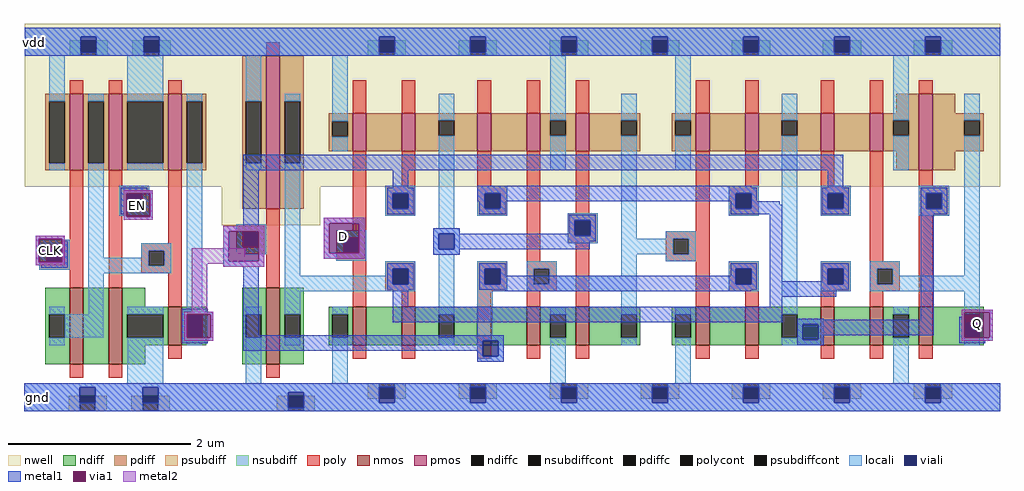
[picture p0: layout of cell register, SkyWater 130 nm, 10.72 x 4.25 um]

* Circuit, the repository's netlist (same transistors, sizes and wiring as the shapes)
* NGSPICE file created from register.ext - technology: sky130A

.subckt d_flip_flop CLK D Q vdd gnd
X0 inverter_1_out common_1 vdd vdd sky130_fd_pr__pfet_01v8 ad=0.235 pd=1.96 as=0.0819 ps=0.81 w=0.42 l=0.15
X1 gnd inverter_1_out a_494_0# gnd sky130_fd_pr__nfet_01v8 ad=0.0819 pd=0.81 as=0.0819 ps=0.81 w=0.42 l=0.15
X2 common_2 CLK_n a_974_426# vdd sky130_fd_pr__pfet_01v8 ad=0.143 pd=1.1 as=0.0819 ps=0.81 w=0.42 l=0.15
X3 gnd Q a_1248_0# gnd sky130_fd_pr__nfet_01v8 ad=0.0819 pd=0.81 as=0.0819 ps=0.81 w=0.42 l=0.15
X4 a_974_0# inverter_1_out gnd gnd sky130_fd_pr__nfet_01v8 ad=0.0819 pd=0.81 as=0.111 ps=1.37 w=0.42 l=0.15
X5 a_220_426# D vdd vdd sky130_fd_pr__pfet_01v8 ad=0.0819 pd=0.81 as=0.111 ps=1.37 w=0.42 l=0.15
X6 a_494_0# CLK common_1 gnd sky130_fd_pr__nfet_01v8 ad=0.0819 pd=0.81 as=0.143 ps=1.1 w=0.42 l=0.15
X7 a_1248_0# CLK_n common_2 gnd sky130_fd_pr__nfet_01v8 ad=0.0819 pd=0.81 as=0.143 ps=1.1 w=0.42 l=0.15
X8 CLK_n CLK vdd vdd sky130_fd_pr__pfet_01v8 ad=0.445 pd=3.89 as=0.445 ps=3.89 w=1.68 l=0.15
X9 common_1 CLK a_220_426# vdd sky130_fd_pr__pfet_01v8 ad=0.143 pd=1.1 as=0.0819 ps=0.81 w=0.42 l=0.15
X10 Q common_2 vdd vdd sky130_fd_pr__pfet_01v8 ad=0.34 pd=2.8 as=0.134 ps=1.23 w=0.84 l=0.15
X11 a_1248_426# CLK common_2 vdd sky130_fd_pr__pfet_01v8 ad=0.0819 pd=0.81 as=0.143 ps=1.1 w=0.42 l=0.15
X12 CLK_n CLK gnd gnd sky130_fd_pr__nfet_01v8 ad=0.223 pd=2.21 as=0.223 ps=2.21 w=0.84 l=0.15
X13 common_1 CLK_n a_220_0# gnd sky130_fd_pr__nfet_01v8 ad=0.143 pd=1.1 as=0.0819 ps=0.81 w=0.42 l=0.15
X14 vdd Q a_1248_426# vdd sky130_fd_pr__pfet_01v8 ad=0.134 pd=1.23 as=0.0819 ps=0.81 w=0.42 l=0.15
X15 common_2 CLK a_974_0# gnd sky130_fd_pr__nfet_01v8 ad=0.143 pd=1.1 as=0.0819 ps=0.81 w=0.42 l=0.15
X16 inverter_1_out common_1 gnd gnd sky130_fd_pr__nfet_01v8 ad=0.235 pd=1.96 as=0.0819 ps=0.81 w=0.42 l=0.15
X17 Q common_2 gnd gnd sky130_fd_pr__nfet_01v8 ad=0.235 pd=1.96 as=0.0819 ps=0.81 w=0.42 l=0.15
X18 a_494_426# CLK_n common_1 vdd sky130_fd_pr__pfet_01v8 ad=0.0819 pd=0.81 as=0.143 ps=1.1 w=0.42 l=0.15
X19 a_974_426# inverter_1_out vdd vdd sky130_fd_pr__pfet_01v8 ad=0.0819 pd=0.81 as=0.111 ps=1.37 w=0.42 l=0.15
X20 a_220_0# D gnd gnd sky130_fd_pr__nfet_01v8 ad=0.0819 pd=0.81 as=0.111 ps=1.37 w=0.42 l=0.15
X21 vdd inverter_1_out a_494_426# vdd sky130_fd_pr__pfet_01v8 ad=0.0819 pd=0.81 as=0.0819 ps=0.81 w=0.42 l=0.15
.ends

.subckt and2 A B Y vdd gnd
X0 vdd B Y_n vdd sky130_fd_pr__pfet_01v8 ad=0.212 pd=1.35 as=0.118 ps=1.12 w=0.84 l=0.15
X1 Y Y_n vdd vdd sky130_fd_pr__pfet_01v8 ad=0.223 pd=2.21 as=0.212 ps=1.35 w=0.84 l=0.15
X2 Y Y_n gnd gnd sky130_fd_pr__nfet_01v8 ad=0.111 pd=1.37 as=0.159 ps=1.35 w=0.42 l=0.15
X3 Y_n A vdd vdd sky130_fd_pr__pfet_01v8 ad=0.118 pd=1.12 as=0.223 ps=2.21 w=0.84 l=0.15
X4 gnd B a_30_n42# gnd sky130_fd_pr__nfet_01v8 ad=0.159 pd=1.35 as=0.118 ps=1.12 w=0.84 l=0.15
X5 a_30_n42# A Y_n gnd sky130_fd_pr__nfet_01v8 ad=0.118 pd=1.12 as=0.223 ps=2.21 w=0.84 l=0.15
.ends

.subckt register D CLK EN Q gnd vdd
Xd_flip_flop_0 and2_0/Y D Q vdd gnd d_flip_flop
Xand2_0 CLK EN and2_0/Y vdd gnd and2
.ends

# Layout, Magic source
magic
tech sky130A
magscale 1 2
<< metal1 >>
rect 2 781 125 842
rect 0 0 123 61
<< metal2 >>
rect 244 448 256 458
rect 696 378 708 388
rect 52 348 64 358
rect 368 324 486 358
rect 368 216 402 324
rect 2088 186 2100 196
use and2  and2_0
transform 1 0 100 0 1 145
box -100 -145 336 706
use d_flip_flop  d_flip_flop_0
transform 1 0 532 0 1 145
box -98 -145 1612 706
<< labels >>
rlabel metal2 250 452 250 452 5 EN
port 3 s
rlabel metal2 702 384 702 384 5 D
port 1 s
rlabel metal2 2094 192 2094 192 5 Q
port 4 s
rlabel metal1 24 810 24 810 5 vdd
port 6 s
rlabel metal1 30 30 30 30 5 gnd
port 5 s
rlabel metal2 58 354 58 354 5 CLK
port 2 s
<< end >>

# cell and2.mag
magic
tech sky130A
magscale 1 2
<< nwell >>
rect -98 348 336 706
<< nmos >>
rect 0 -42 30 126
rect 86 -42 116 126
rect 217 0 247 84
<< pmos >>
rect 0 384 30 552
rect 86 384 116 552
rect 217 384 247 552
<< ndiff >>
rect -53 68 0 126
rect -53 16 -45 68
rect -11 16 0 68
rect -53 -42 0 16
rect 30 -42 86 126
rect 116 84 166 126
rect 116 68 217 84
rect 116 16 127 68
rect 206 16 217 68
rect 116 0 217 16
rect 247 68 300 84
rect 247 16 258 68
rect 292 16 300 68
rect 247 0 300 16
rect 116 -42 166 0
<< pdiff >>
rect -53 536 0 552
rect -53 400 -45 536
rect -11 400 0 536
rect -53 384 0 400
rect 30 536 86 552
rect 30 400 41 536
rect 75 400 86 536
rect 30 384 86 400
rect 116 536 217 552
rect 116 400 127 536
rect 206 400 217 536
rect 116 384 217 400
rect 247 536 300 552
rect 247 400 258 536
rect 292 400 300 536
rect 247 384 300 400
<< ndiffc >>
rect -45 16 -11 68
rect 127 16 206 68
rect 258 16 292 68
<< pdiffc >>
rect -45 400 -11 536
rect 41 400 75 536
rect 127 400 206 536
rect 258 400 292 536
<< psubdiff >>
rect -2 -145 23 -111
rect 57 -145 82 -111
rect 136 -145 161 -111
rect 195 -145 220 -111
<< nsubdiff >>
rect 0 636 25 670
rect 59 636 84 670
rect 138 636 163 670
rect 197 636 222 670
<< psubdiffcont >>
rect 23 -145 57 -111
rect 161 -145 195 -111
<< nsubdiffcont >>
rect 25 636 59 670
rect 163 636 197 670
<< poly >>
rect 0 552 30 582
rect 86 552 116 582
rect 217 552 247 582
rect 0 232 30 384
rect -66 216 30 232
rect -66 182 -50 216
rect -16 182 30 216
rect -66 166 30 182
rect 0 126 30 166
rect 86 350 116 384
rect 86 334 175 350
rect 86 300 125 334
rect 159 300 175 334
rect 86 284 175 300
rect 86 126 116 284
rect 217 224 247 384
rect 158 208 247 224
rect 158 174 174 208
rect 208 174 247 208
rect 158 158 247 174
rect 217 84 247 158
rect 217 -30 247 0
rect 0 -72 30 -42
rect 86 -72 116 -42
<< polycont >>
rect -50 182 -16 216
rect 125 300 159 334
rect 174 174 208 208
<< locali >>
rect -98 678 336 697
rect -98 636 25 678
rect 59 636 163 678
rect 197 636 336 678
rect -45 536 -11 636
rect -45 384 -11 400
rect 41 536 75 552
rect -66 216 0 232
rect -66 182 -50 216
rect -16 182 0 216
rect -66 166 0 182
rect 41 192 75 400
rect 127 536 206 636
rect 127 384 206 400
rect 258 536 292 552
rect 109 334 175 350
rect 109 300 125 334
rect 159 300 175 334
rect 109 284 175 300
rect 158 208 224 224
rect 158 192 174 208
rect 41 174 174 192
rect 208 174 224 208
rect 41 158 224 174
rect -45 68 -11 84
rect 41 68 75 158
rect -11 16 75 68
rect 127 68 206 84
rect 258 80 292 400
rect -45 0 -11 16
rect 127 -84 206 16
rect 246 68 304 80
rect 246 16 258 68
rect 292 16 304 68
rect 246 4 304 16
rect 258 0 292 4
rect -100 -92 334 -84
rect -100 -145 23 -92
rect 57 -145 161 -92
rect 195 -145 334 -92
<< viali >>
rect 25 670 59 678
rect 25 644 59 670
rect 163 670 197 678
rect 163 644 197 670
rect -50 182 -16 216
rect 125 300 159 334
rect 258 16 292 68
rect 23 -111 57 -92
rect 23 -126 57 -111
rect 161 -111 195 -92
rect 161 -126 195 -111
<< metal1 >>
rect -98 678 336 697
rect -98 644 25 678
rect 59 644 163 678
rect 197 644 336 678
rect -98 636 336 644
rect 113 340 171 346
rect 113 334 183 340
rect 113 288 125 334
rect 119 282 125 288
rect 177 282 183 334
rect 119 276 183 282
rect -74 234 -10 240
rect -74 182 -68 234
rect -16 228 -10 234
rect -16 182 -4 228
rect -74 176 -4 182
rect -62 170 -4 176
rect 246 74 304 80
rect 246 68 316 74
rect 246 16 258 68
rect 310 16 316 68
rect 246 10 316 16
rect 246 4 304 10
rect -100 -92 334 -84
rect -100 -126 23 -92
rect 57 -126 161 -92
rect 195 -126 334 -92
rect -100 -145 334 -126
<< via1 >>
rect 125 300 159 334
rect 159 300 177 334
rect 125 282 177 300
rect -68 216 -16 234
rect -68 182 -50 216
rect -50 182 -16 216
rect 258 16 292 68
rect 292 16 310 68
<< metal2 >>
rect 119 334 183 340
rect 119 282 125 334
rect 177 282 183 334
rect 119 276 183 282
rect -74 234 -10 240
rect -74 182 -68 234
rect -16 182 -10 234
rect -74 176 -10 182
rect 252 68 316 74
rect 252 16 258 68
rect 310 16 316 68
rect 252 10 316 16
<< labels >>
rlabel via1 284 42 284 42 5 Y
port 3 s
rlabel via1 151 308 151 308 5 B
port 2 s
rlabel via1 -42 208 -42 208 5 A
port 1 s
rlabel polycont 191 191 191 191 5 Y_n
rlabel metal1 -70 -116 -70 -116 5 gnd
port 4 s
rlabel metal1 -70 668 -70 668 5 vdd
port 5 s
<< end >>

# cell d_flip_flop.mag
magic
tech sky130A
magscale 1 2
<< nwell >>
rect -98 348 1612 706
rect -98 264 119 348
<< nmos >>
rect 0 -42 30 126
rect 190 0 220 84
rect 298 0 328 84
rect 464 0 494 84
rect 572 0 602 84
rect 680 0 710 84
rect 944 0 974 84
rect 1052 0 1082 84
rect 1218 0 1248 84
rect 1326 0 1356 84
rect 1434 0 1464 84
<< pmos >>
rect 0 300 30 636
rect 190 426 220 510
rect 298 426 328 510
rect 464 426 494 510
rect 572 426 602 510
rect 680 426 710 510
rect 944 426 974 510
rect 1052 426 1082 510
rect 1218 426 1248 510
rect 1326 426 1356 510
rect 1434 384 1464 552
<< ndiff >>
rect -53 68 0 126
rect -53 16 -45 68
rect -11 16 0 68
rect -53 -42 0 16
rect 30 68 83 126
rect 30 16 41 68
rect 75 16 83 68
rect 30 -42 83 16
rect 137 68 190 84
rect 137 16 145 68
rect 179 16 190 68
rect 137 0 190 16
rect 220 0 298 84
rect 328 68 464 84
rect 328 16 379 68
rect 413 16 464 68
rect 328 0 464 16
rect 494 0 572 84
rect 602 68 680 84
rect 602 16 624 68
rect 658 16 680 68
rect 602 0 680 16
rect 710 68 822 84
rect 710 16 780 68
rect 814 16 822 68
rect 710 0 822 16
rect 891 68 944 84
rect 891 16 899 68
rect 933 16 944 68
rect 891 0 944 16
rect 974 0 1052 84
rect 1082 68 1218 84
rect 1082 16 1133 68
rect 1167 16 1218 68
rect 1082 0 1218 16
rect 1248 0 1326 84
rect 1356 68 1434 84
rect 1356 16 1378 68
rect 1412 16 1434 68
rect 1356 0 1434 16
rect 1464 68 1576 84
rect 1464 16 1534 68
rect 1568 16 1576 68
rect 1464 0 1576 16
<< pdiff >>
rect -53 536 0 636
rect -53 400 -45 536
rect -11 400 0 536
rect -53 300 0 400
rect 30 536 83 636
rect 30 400 41 536
rect 75 400 83 536
rect 1384 510 1434 552
rect 137 492 190 510
rect 137 458 145 492
rect 179 458 190 492
rect 137 426 190 458
rect 220 426 298 510
rect 328 494 464 510
rect 328 460 379 494
rect 413 460 464 494
rect 328 426 464 460
rect 494 426 572 510
rect 602 494 680 510
rect 602 460 624 494
rect 658 460 680 494
rect 602 426 680 460
rect 710 494 822 510
rect 710 460 780 494
rect 814 460 822 494
rect 710 426 822 460
rect 891 494 944 510
rect 891 460 899 494
rect 933 460 944 494
rect 891 426 944 460
rect 974 426 1052 510
rect 1082 494 1218 510
rect 1082 460 1133 494
rect 1167 460 1218 494
rect 1082 426 1218 460
rect 1248 426 1326 510
rect 1356 494 1434 510
rect 1356 460 1378 494
rect 1412 460 1434 494
rect 1356 426 1434 460
rect 30 300 83 400
rect 1384 384 1434 426
rect 1464 510 1514 552
rect 1464 494 1576 510
rect 1464 460 1534 494
rect 1568 460 1576 494
rect 1464 426 1576 460
rect 1464 384 1514 426
<< ndiffc >>
rect -45 16 -11 68
rect 41 16 75 68
rect 145 16 179 68
rect 379 16 413 68
rect 624 16 658 68
rect 780 16 814 68
rect 899 16 933 68
rect 1133 16 1167 68
rect 1378 16 1412 68
rect 1534 16 1568 68
<< pdiffc >>
rect -45 400 -11 536
rect 41 400 75 536
rect 145 458 179 492
rect 379 460 413 494
rect 624 460 658 494
rect 780 460 814 494
rect 899 460 933 494
rect 1133 460 1167 494
rect 1378 460 1412 494
rect 1534 460 1568 494
<< psubdiff >>
rect 23 -145 48 -111
rect 82 -145 107 -111
rect 223 -118 248 -84
rect 282 -118 307 -84
rect 423 -118 448 -84
rect 482 -118 507 -84
rect 623 -118 648 -84
rect 682 -118 707 -84
rect 823 -118 848 -84
rect 882 -118 907 -84
rect 1023 -118 1048 -84
rect 1082 -118 1107 -84
rect 1223 -118 1248 -84
rect 1282 -118 1307 -84
rect 1423 -118 1448 -84
rect 1482 -118 1507 -84
<< nsubdiff >>
rect 223 636 248 670
rect 282 636 307 670
rect 423 636 448 670
rect 482 636 507 670
rect 623 636 648 670
rect 682 636 707 670
rect 823 636 848 670
rect 882 636 907 670
rect 1023 636 1048 670
rect 1082 636 1107 670
rect 1223 636 1248 670
rect 1282 636 1307 670
rect 1423 636 1448 670
rect 1482 636 1507 670
<< psubdiffcont >>
rect 48 -145 82 -111
rect 248 -118 282 -84
rect 448 -118 482 -84
rect 648 -118 682 -84
rect 848 -118 882 -84
rect 1048 -118 1082 -84
rect 1248 -118 1282 -84
rect 1448 -118 1482 -84
<< nsubdiffcont >>
rect 248 636 282 670
rect 448 636 482 670
rect 648 636 682 670
rect 848 636 882 670
rect 1048 636 1082 670
rect 1248 636 1282 670
rect 1448 636 1482 670
<< poly >>
rect 0 636 30 666
rect 190 510 220 582
rect 298 510 328 582
rect 464 510 494 582
rect 572 510 602 582
rect 680 510 710 582
rect 944 510 974 582
rect 1052 510 1082 582
rect 1218 510 1248 582
rect 1326 510 1356 582
rect 1434 552 1464 582
rect 0 266 30 300
rect -66 250 30 266
rect 190 252 220 426
rect 298 350 328 426
rect 262 334 328 350
rect 262 300 278 334
rect 312 300 328 334
rect 262 284 328 300
rect 464 350 494 426
rect 464 334 530 350
rect 464 300 480 334
rect 514 300 530 334
rect 464 284 530 300
rect -66 216 -50 250
rect -16 216 30 250
rect -66 200 30 216
rect 0 126 30 200
rect 154 236 220 252
rect 154 202 170 236
rect 204 202 220 236
rect 154 186 220 202
rect 190 84 220 186
rect 572 184 602 426
rect 680 290 710 426
rect 662 274 728 290
rect 662 240 678 274
rect 712 240 728 274
rect 944 250 974 426
rect 1052 350 1082 426
rect 1016 334 1082 350
rect 1016 300 1032 334
rect 1066 300 1082 334
rect 1016 284 1082 300
rect 1218 350 1248 426
rect 1218 334 1284 350
rect 1218 300 1234 334
rect 1268 300 1284 334
rect 1218 284 1284 300
rect 662 224 728 240
rect 878 234 974 250
rect 262 168 328 184
rect 262 134 278 168
rect 312 134 328 168
rect 262 118 328 134
rect 298 84 328 118
rect 464 168 530 184
rect 464 134 480 168
rect 514 134 530 168
rect 464 118 530 134
rect 572 168 638 184
rect 572 134 588 168
rect 622 134 638 168
rect 572 118 638 134
rect 464 84 494 118
rect 572 84 602 118
rect 680 84 710 224
rect 878 200 894 234
rect 928 200 974 234
rect 878 184 974 200
rect 1326 184 1356 426
rect 1434 350 1464 384
rect 1434 334 1500 350
rect 1434 300 1450 334
rect 1484 300 1500 334
rect 1434 284 1500 300
rect 944 84 974 184
rect 1016 168 1082 184
rect 1016 134 1032 168
rect 1066 134 1082 168
rect 1016 118 1082 134
rect 1052 84 1082 118
rect 1218 168 1284 184
rect 1218 134 1234 168
rect 1268 134 1284 168
rect 1218 118 1284 134
rect 1326 168 1392 184
rect 1326 134 1342 168
rect 1376 134 1392 168
rect 1326 118 1392 134
rect 1218 84 1248 118
rect 1326 84 1356 118
rect 1434 84 1464 284
rect 190 -30 220 0
rect 298 -30 328 0
rect 464 -30 494 0
rect 572 -30 602 0
rect 680 -30 710 0
rect 944 -30 974 0
rect 1052 -30 1082 0
rect 1218 -30 1248 0
rect 1326 -30 1356 0
rect 1434 -30 1464 0
rect 0 -72 30 -42
<< polycont >>
rect 278 300 312 334
rect 480 300 514 334
rect -50 216 -16 250
rect 170 202 204 236
rect 678 240 712 274
rect 1032 300 1066 334
rect 1234 300 1268 334
rect 278 134 312 168
rect 480 134 514 168
rect 588 134 622 168
rect 894 200 928 234
rect 1450 300 1484 334
rect 1032 134 1066 168
rect 1234 134 1268 168
rect 1342 134 1376 168
<< locali >>
rect -98 678 1612 697
rect -98 636 248 678
rect 282 636 448 678
rect 482 636 648 678
rect 682 636 848 678
rect 882 636 1048 678
rect 1082 636 1248 678
rect 1282 636 1448 678
rect 1482 636 1612 678
rect -45 536 -11 636
rect -45 384 -11 400
rect 41 536 75 552
rect 145 492 179 636
rect 145 426 179 458
rect 379 494 413 552
rect -66 250 0 266
rect -66 216 -50 250
rect -16 216 0 250
rect -66 200 0 216
rect 41 152 75 400
rect 262 334 328 350
rect 262 300 278 334
rect 312 300 328 334
rect 262 284 328 300
rect 379 257 413 460
rect 624 494 658 636
rect 624 384 658 460
rect 780 494 814 552
rect 464 334 530 350
rect 464 300 480 334
rect 514 300 530 334
rect 464 284 530 300
rect 662 274 728 290
rect 154 236 220 252
rect 154 202 170 236
rect 204 202 220 236
rect 154 186 220 202
rect 367 245 425 257
rect 367 211 379 245
rect 413 211 425 245
rect 662 240 678 274
rect 712 240 728 274
rect 662 224 728 240
rect 780 234 814 460
rect 899 494 933 636
rect 899 384 933 460
rect 1133 494 1167 552
rect 1016 334 1082 350
rect 1016 300 1032 334
rect 1066 300 1082 334
rect 1016 284 1082 300
rect 878 234 944 250
rect 367 199 425 211
rect 780 200 894 234
rect 928 200 944 234
rect 262 168 328 184
rect 262 152 278 168
rect 41 134 278 152
rect 312 134 328 168
rect 41 118 328 134
rect -45 68 -11 84
rect -45 -84 -11 16
rect 41 68 75 118
rect 41 0 75 16
rect 145 68 179 84
rect 145 -84 179 16
rect 379 68 413 199
rect 379 0 413 16
rect 464 168 530 184
rect 464 134 480 168
rect 514 134 530 168
rect 464 118 530 134
rect 572 168 638 184
rect 572 134 588 168
rect 622 152 638 168
rect 780 152 814 200
rect 878 184 944 200
rect 622 134 814 152
rect 572 118 814 134
rect 1016 168 1082 184
rect 1016 134 1032 168
rect 1066 134 1082 168
rect 1016 118 1082 134
rect 464 22 498 118
rect 624 68 658 84
rect 464 10 522 22
rect 464 -24 476 10
rect 510 -24 522 10
rect 464 -36 522 -24
rect 624 -84 658 16
rect 780 68 814 118
rect 780 0 814 16
rect 899 68 933 84
rect 899 -84 933 16
rect 1133 68 1167 460
rect 1378 494 1412 636
rect 1378 384 1412 460
rect 1534 494 1568 552
rect 1218 334 1284 350
rect 1218 300 1234 334
rect 1268 300 1284 334
rect 1218 284 1284 300
rect 1434 334 1500 350
rect 1434 300 1450 334
rect 1484 300 1500 334
rect 1434 284 1500 300
rect 1218 168 1284 184
rect 1218 134 1234 168
rect 1268 134 1284 168
rect 1218 118 1284 134
rect 1326 168 1392 184
rect 1326 134 1342 168
rect 1376 152 1392 168
rect 1534 152 1568 460
rect 1376 134 1568 152
rect 1326 118 1568 134
rect 1378 68 1412 84
rect 1167 46 1225 58
rect 1167 16 1179 46
rect 1133 12 1179 16
rect 1213 12 1225 46
rect 1133 0 1225 12
rect 1378 -84 1412 16
rect 1534 68 1568 118
rect 1534 0 1568 16
rect -98 -103 248 -84
rect -98 -145 48 -103
rect 82 -126 248 -103
rect 282 -126 448 -84
rect 482 -126 648 -84
rect 682 -126 848 -84
rect 882 -126 1048 -84
rect 1082 -126 1248 -84
rect 1282 -126 1448 -84
rect 1482 -126 1612 -84
rect 82 -145 1612 -126
<< viali >>
rect 248 670 282 678
rect 248 644 282 670
rect 448 670 482 678
rect 448 644 482 670
rect 648 670 682 678
rect 648 644 682 670
rect 848 670 882 678
rect 848 644 882 670
rect 1048 670 1082 678
rect 1048 644 1082 670
rect 1248 670 1282 678
rect 1248 644 1282 670
rect 1448 670 1482 678
rect 1448 644 1482 670
rect -50 216 -16 250
rect 278 300 312 334
rect 480 300 514 334
rect 170 202 204 236
rect 379 211 413 245
rect 678 240 712 274
rect 1032 300 1066 334
rect 278 134 312 168
rect 480 134 514 168
rect 1032 134 1066 168
rect 476 -24 510 10
rect 1234 300 1268 334
rect 1450 300 1484 334
rect 1234 134 1268 168
rect 1179 12 1213 46
rect 1534 16 1568 50
rect 48 -111 82 -103
rect 48 -137 82 -111
rect 248 -118 282 -92
rect 248 -126 282 -118
rect 448 -118 482 -92
rect 448 -126 482 -118
rect 648 -118 682 -92
rect 648 -126 682 -118
rect 848 -118 882 -92
rect 848 -126 882 -118
rect 1048 -118 1082 -92
rect 1048 -126 1082 -118
rect 1248 -118 1282 -92
rect 1248 -126 1282 -118
rect 1448 -118 1482 -92
rect 1448 -126 1482 -118
<< metal1 >>
rect -98 678 1612 697
rect -98 644 248 678
rect 282 644 448 678
rect 482 644 648 678
rect 682 644 848 678
rect 882 644 1048 678
rect 1082 644 1248 678
rect 1282 644 1448 678
rect 1482 644 1612 678
rect -98 636 1612 644
rect -50 384 1268 418
rect -50 262 -16 384
rect 278 346 312 384
rect 464 346 1066 350
rect 1234 346 1268 384
rect 266 334 324 346
rect 266 300 278 334
rect 312 300 324 334
rect 464 334 1078 346
rect 464 316 480 334
rect 266 288 324 300
rect 468 300 480 316
rect 514 316 1032 334
rect 514 300 526 316
rect 468 288 526 300
rect 1020 300 1032 316
rect 1066 316 1078 334
rect 1222 334 1280 346
rect 1066 308 1128 316
rect 1066 300 1134 308
rect 1020 288 1134 300
rect 1222 300 1234 334
rect 1268 300 1280 334
rect 1222 288 1280 300
rect 1438 334 1496 346
rect 1438 300 1450 334
rect 1484 300 1496 334
rect 1438 288 1496 300
rect 126 268 216 280
rect -94 250 -4 262
rect -94 184 -82 250
rect -16 184 -4 250
rect 126 202 138 268
rect 204 202 216 268
rect 666 274 724 286
rect 126 190 216 202
rect 367 245 425 257
rect 666 245 678 274
rect 367 211 379 245
rect 413 240 678 245
rect 712 240 724 274
rect 413 228 724 240
rect 413 211 711 228
rect 367 199 425 211
rect -94 172 -4 184
rect -50 22 -16 172
rect 266 168 324 180
rect 266 134 278 168
rect 312 134 324 168
rect 266 122 324 134
rect 468 168 526 180
rect 468 134 480 168
rect 514 152 526 168
rect 1020 168 1078 180
rect 1020 152 1032 168
rect 514 134 1032 152
rect 1066 134 1078 168
rect 468 122 1078 134
rect 1106 140 1134 288
rect 1222 168 1280 180
rect 1222 140 1234 168
rect 1106 134 1234 140
rect 1268 134 1280 168
rect 1106 122 1280 134
rect 278 84 312 122
rect 524 118 1064 122
rect 1106 106 1252 122
rect 1106 84 1134 106
rect 278 50 1134 84
rect 1167 56 1225 58
rect 1438 56 1466 288
rect 1528 72 1596 78
rect 1528 62 1534 72
rect 1167 46 1466 56
rect -50 10 522 22
rect -50 -12 476 10
rect 464 -24 476 -12
rect 510 -24 522 10
rect 1167 12 1179 46
rect 1213 22 1466 46
rect 1213 12 1225 22
rect 1167 0 1225 12
rect 1522 16 1534 62
rect 1590 16 1596 72
rect 1522 10 1596 16
rect 1522 4 1580 10
rect 464 -36 522 -24
rect -98 -92 1612 -84
rect -98 -103 248 -92
rect -98 -137 48 -103
rect 82 -126 248 -103
rect 282 -126 448 -92
rect 482 -126 648 -92
rect 682 -126 848 -92
rect 882 -126 1048 -92
rect 1082 -126 1248 -92
rect 1282 -126 1448 -92
rect 1482 -126 1612 -92
rect 82 -137 1612 -126
rect -98 -145 1612 -137
<< via1 >>
rect -82 216 -50 250
rect -50 216 -16 250
rect -82 184 -16 216
rect 138 236 204 268
rect 138 202 170 236
rect 170 202 204 236
rect 1534 50 1590 72
rect 1534 16 1568 50
rect 1568 16 1590 50
<< metal2 >>
rect 126 268 216 280
rect -94 250 -4 262
rect -94 184 -82 250
rect -16 184 -4 250
rect 126 202 138 268
rect 204 202 216 268
rect 126 190 216 202
rect -94 172 -4 184
rect 1528 72 1596 78
rect 1528 16 1534 72
rect 1590 16 1596 72
rect 1528 10 1596 16
<< labels >>
rlabel metal2 170 202 204 236 5 D
port 2 s
rlabel metal2 1534 16 1590 72 5 Q
port 3 s
rlabel locali -68 -119 -68 -119 5 gnd
port 4 s
rlabel locali -50 670 -50 670 5 vdd
port 5 s
rlabel locali 58 136 58 136 5 CLK_n
rlabel viali 396 228 396 228 5 common_1
rlabel locali 800 218 800 218 5 inverter_1_out
rlabel viali 1196 30 1196 30 5 common_2
rlabel metal2 -50 216 -16 250 5 CLK
port 1 s
<< end >>
